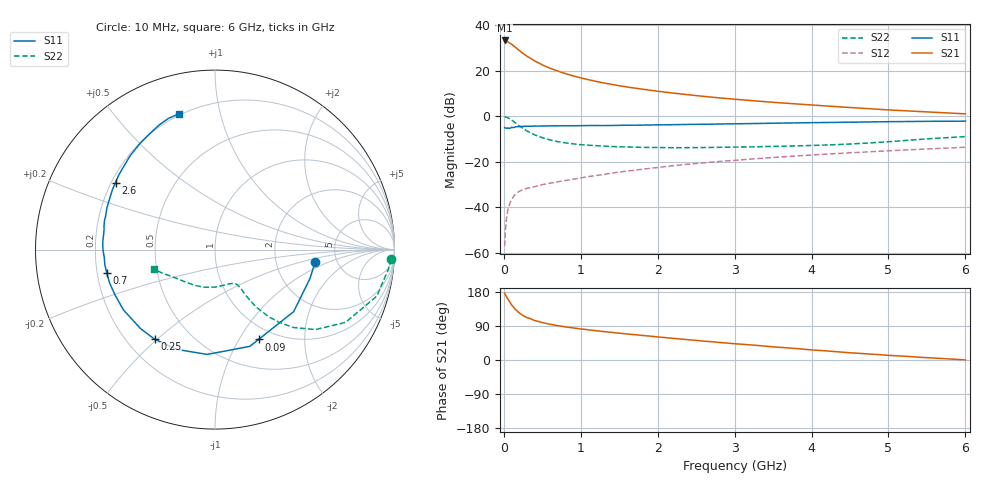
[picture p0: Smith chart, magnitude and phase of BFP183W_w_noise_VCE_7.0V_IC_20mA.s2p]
! (c) 2017  Infineon Technologies AG, Munich
! Infineon Technologies  Discrete & RF Semiconductors
! BFP183W
! VCE =  7.0 V,  IC =  20 mA
! Common Emitter S-Parameters:  Jan 2017
# GHz  S  MA  R  50
!  f  S11  S21  S12  S22
! GHz  MAG  ANG  MAG  ANG  MAG  ANG  MAG  ANG
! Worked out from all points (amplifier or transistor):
!   77 points, 10 MHz to 6 GHz, reference 50 ohm
!   highest |S21| = 33.3 dB at 10 MHz (marker M1)
!   |S21| within 3 dB of that: start of sweep to 150.3 MHz
!   unconditionally stable (mu >= 1): 1.213 GHz to 3.581 GHz
!   at 130 MHz: K = 0.22, MSG = 33.0 dB, |S12| = -35.1 dB
!   at 2.2 GHz: K = 1.06, MAG = 14.5 dB, |S12| = -21.7 dB
!   at 6 GHz: K = 0.86, MSG = 7.3 dB, |S12| = -13.6 dB
!   lowest NFmin = 1.17 dB at 450 MHz
!   S11 on the Smith chart (normalised r, x): 10 MHz: 3.42, -0.69; 90 MHz: 0.84, -1.22; 250 MHz: 0.31, -0.49; 700 MHz: 0.24, -0.10; 2.6 GHz: 0.22, +0.29; 6 GHz: 0.19, +0.75
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0.01  0.5624 -7.1  46.42 176.4  0.0014 87.2  0.9833 -3.1
0.02  0.5533 -16.8  45.64 172.0  0.0031 83.3  0.9722 -6.5
0.05  0.5581 -38.3  43.65 161.3  0.0084 71.1  0.9382 -16.0
0.09  0.5563 -64.1  39.24 149.0  0.0137 67.0  0.8504 -26.2
0.1  0.573 -70.2  38.46 145.5  0.015 66.4  0.8332 -29.1
0.15  0.5856 -94.3  32.89 133.4  0.0195 55.6  0.7155 -38.5
0.2  0.5957 -111.1  27.98 124.2  0.0224 51.4  0.6176 -44.7
0.25  0.6021 -123.9  24.08 117.2  0.0247 47.5  0.5386 -48.7
0.3  0.6048 -133.4  20.92 112.0  0.026 45.7  0.4769 -51.4
0.4  0.6108 -146.6  16.53 104.2  0.0285 45.9  0.392 -54.4
0.5  0.6118 -155.7  13.5 98.7  0.0314 45.8  0.3387 -55.5
0.6  0.6158 -162.4  11.43 94.3  0.0339 47.3  0.3029 -56.1
0.7  0.6171 -167.6  9.855 90.7  0.0363 48.5  0.2776 -56.2
0.9  0.6184 -176.0  7.725 84.6  0.0414 51.6  0.2481 -56.8
1.1  0.6264 177.5  6.373 79.7  0.0474 54.4  0.2316 -57.6
1.5  0.6332 167.5  4.698 70.8  0.0595 56.8  0.2137 -61.6
2.1  0.6509 154.8  3.394 59.1  0.0785 57.8  0.2049 -72.3
2.6  0.6685 146.0  2.74 49.8  0.0949 56.9  0.206 -84.3
3.1  0.6875 137.8  2.3 41.5  0.1111 55.1  0.2111 -96.9
4.1  0.7279 123.8  1.727 25.3  0.1442 50.2  0.2314 -122.6
5.1  0.764 113.0  1.354 11.2  0.1779 44.6  0.2842 -148.2
6  0.7825 105.0  1.131 0.2  0.2088 38.8  0.3586 -162.1
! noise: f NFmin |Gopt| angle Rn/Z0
0.45  1.17  0.2  171  0.1
0.9  1.2  0.25  174  0.09
1.9  1.68  0.41  -163  0.08
2.4  1.92  0.45  -157  0.12
